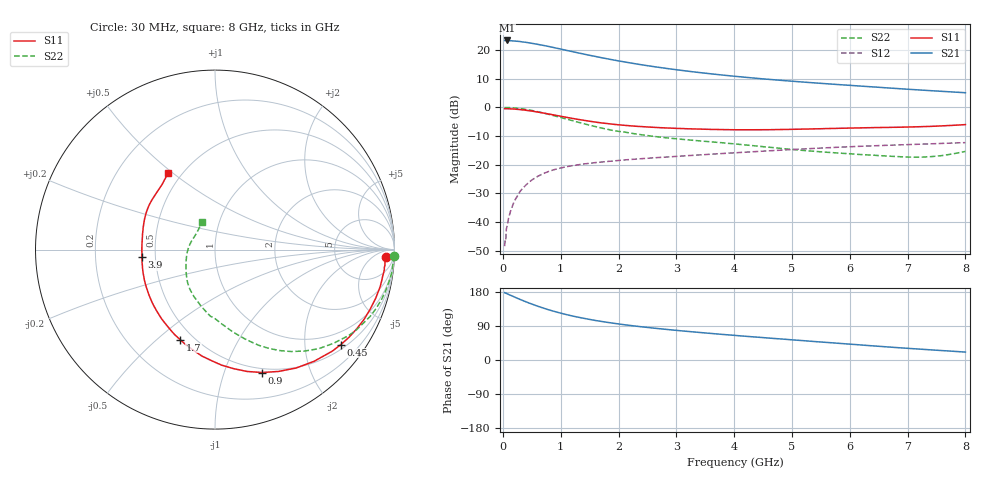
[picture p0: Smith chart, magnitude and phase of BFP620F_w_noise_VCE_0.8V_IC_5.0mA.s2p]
! Infineon Technologies  Discrete & RF Semiconductors
! BFP620F
! VCE =  0.8 V,  IC =  5.0 mA
! Common Emitter S-Parameters:  Dec 2014
# GHz  S  MA  R  50
!  f  S11  S21  S12  S22
! GHz  MAG  ANG  MAG  ANG  MAG  ANG  MAG  ANG
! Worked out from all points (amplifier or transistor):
!   95 points, 30 MHz to 8 GHz, reference 50 ohm
!   highest |S21| = 23.4 dB at 70 MHz (marker M1)
!   |S21| within 3 dB of that: start of sweep to 999.3 MHz
!   unconditionally stable (mu >= 1): 5.214 GHz to end of sweep
!   at 300 MHz: K = 0.08, MSG = 26.1 dB, |S12| = -29.2 dB
!   at 3.3 GHz: K = 0.83, MSG = 14.6 dB, |S12| = -16.7 dB
!   at 8 GHz: K = 1.12, MAG = 6.6 dB, |S12| = -12.3 dB
!   lowest NFmin = 0.52 dB at 450 MHz
!   S11 on the Smith chart (normalised r, x): 30 MHz: 23, -20; 450 MHz: 0.62, -2.86; 900 MHz: 0.46, -1.35; 1.7 GHz: 0.42, -0.60; 3.9 GHz: 0.42, -0.04; 8 GHz: 0.42, +0.48
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0.03  0.9513 -2.5  14.69 177.7  0.0038 86.8  0.9965 -2.0
0.05  0.9494 -4.3  14.7 176.3  0.0046 89.0  0.9949 -3.5
0.07  0.9486 -6.0  14.73 175.1  0.0083 85.5  0.9946 -4.7
0.13  0.9441 -11.1  14.63 170.9  0.0152 82.3  0.9899 -8.8
0.25  0.926 -21.1  14.26 162.9  0.0284 78.9  0.9679 -16.9
0.4  0.8919 -33.3  13.67 153.5  0.0444 72.2  0.9217 -26.5
0.45  0.8784 -37.1  13.4 150.5  0.0494 70.1  0.9065 -29.5
0.6  0.8317 -48.5  12.62 142.1  0.0626 63.9  0.8421 -38.3
0.7  0.7996 -55.6  12.09 137.0  0.0701 60.6  0.7992 -43.7
0.8  0.7655 -62.5  11.53 132.1  0.0771 57.3  0.7544 -48.5
0.9  0.7335 -69.0  10.97 127.8  0.0829 54.4  0.7092 -53.2
1.1  0.672 -81.0  9.89 119.8  0.0925 49.6  0.6266 -61.4
1.4  0.5967 -97.2  8.525 110.0  0.1032 44.7  0.521 -71.9
1.7  0.5376 -111.2  7.393 101.9  0.1114 41.2  0.4381 -81.5
2.1  0.4877 -127.4  6.23 93.1  0.1213 37.8  0.3723 -93.9
2.7  0.4447 -146.4  5.002 82.7  0.1339 34.9  0.305 -108.5
3.2  0.4242 -159.2  4.289 75.4  0.1444 33.1  0.2722 -118.6
3.9  0.4095 -174.2  3.585 66.3  0.1593 31.0  0.2362 -130.6
4.1  0.4076 -178.2  3.428 63.8  0.1636 30.2  0.2263 -133.7
5.4  0.4232 159.6  2.676 48.6  0.1933 25.0  0.1714 -159.7
6.7  0.4489 140.0  2.176 34.0  0.2193 18.2  0.1408 164.6
8  0.5017 121.6  1.806 20.9  0.2433 11.6  0.1708 115.1
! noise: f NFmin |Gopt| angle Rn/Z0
0.45  0.52  0.46  9  0.28
0.9  0.59  0.43  20  0.24
1.5  0.66  0.38  26  0.22
1.8  0.7  0.36  30  0.21
1.9  0.71  0.31  42  0.23
2.4  0.77  0.28  56  0.21
3.5  0.9  0.27  77  0.16
5.5  1.12  0.18  155  0.13
6  1.17  0.14  173  0.25
